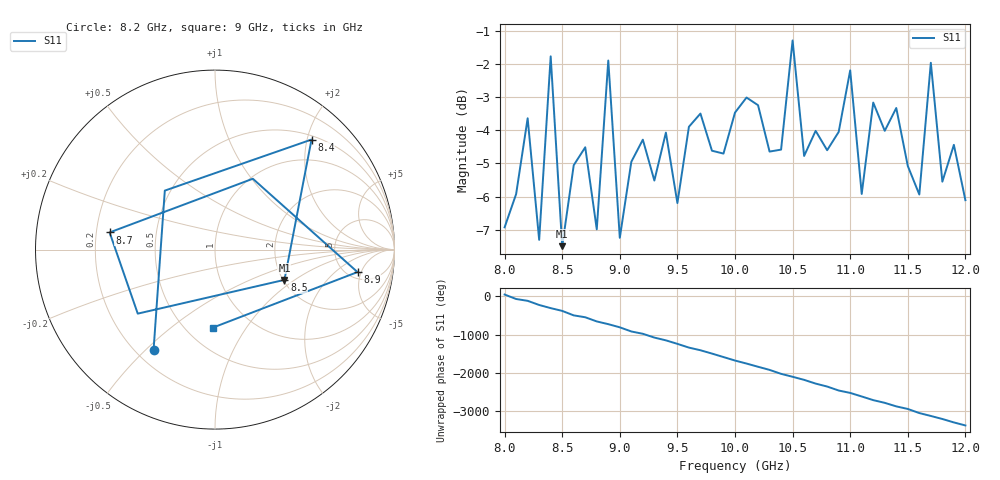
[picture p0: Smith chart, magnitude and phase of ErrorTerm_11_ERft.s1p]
!  1-Port S-parameters saved by WinCal
! VAR NAME=2-Port SOLT labuser 6
! VAR Error Term Name=ERft phys rcv port 1 phys src port 1
# Hz S RI R 50
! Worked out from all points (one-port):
!   41 points, 8 GHz to 12 GHz, reference 50 ohm
!   lowest |S11| = -7.5 dB at 8.5 GHz (marker M1), VSWR 2.46, Z = 102 - j41.7 ohm
!   |S11| at or under -10 dB: nowhere
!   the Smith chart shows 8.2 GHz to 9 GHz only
!   S11 on the Smith chart (normalised r, x): 8.2 GHz: 0.27, -0.53; 8.4 GHz: 0.57, +2.08; 8.5 GHz: 2.03, -0.83; 8.7 GHz: 0.26, +0.08; 8.9 GHz: 6.09, -4.31; 9 GHz: 0.67, -0.72
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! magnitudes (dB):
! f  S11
! 8 GHz  -6.9
! 8.2 GHz  -3.6
! 8.3 GHz  -7.3
! 8.4 GHz  -1.8
! 8.5 GHz  -7.5
! 8.7 GHz  -4.5
! 8.8 GHz  -7.0
! 8.9 GHz  -1.9
! 9 GHz  -7.2
! 9.2 GHz  -4.3
! 9.3 GHz  -5.5
! 9.4 GHz  -4.1
! 9.5 GHz  -6.2
! 9.6 GHz  -3.9
! 10 GHz  -3.5
! 10.4 GHz  -4.6
! 10.5 GHz  -1.3
! 10.6 GHz  -4.8
! 10.9 GHz  -4.0
! 11 GHz  -2.2
! 11.1 GHz  -5.9
! 11.2 GHz  -3.2
! 11.5 GHz  -5.1
! 11.6 GHz  -5.9
! 11.7 GHz  -2.0
! 11.8 GHz  -5.5
! 11.9 GHz  -4.4
! 12 GHz  -6.1
